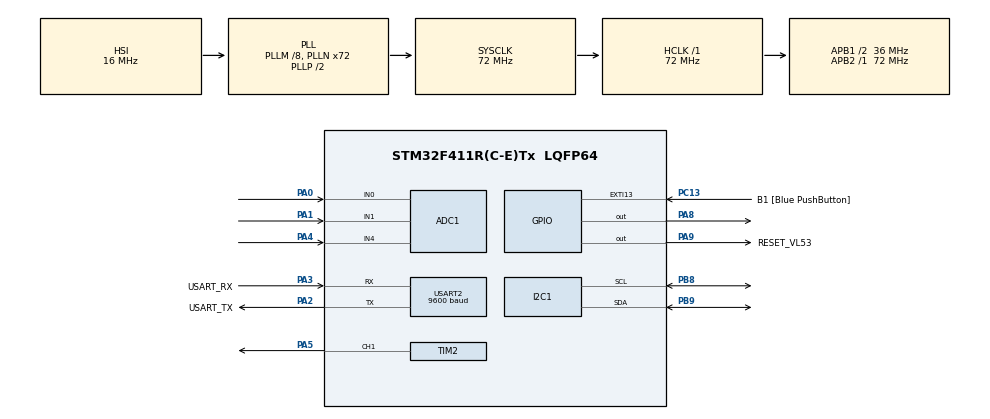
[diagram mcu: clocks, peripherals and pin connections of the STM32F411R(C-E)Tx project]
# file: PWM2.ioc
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ADC1.Channel-0\#ChannelRegularConversion=ADC_CHANNEL_4
ADC1.Channel-1\#ChannelRegularConversion=ADC_CHANNEL_0
ADC1.Channel-2\#ChannelRegularConversion=ADC_CHANNEL_1
ADC1.ContinuousConvMode=ENABLE
ADC1.NbrOfConversion=3
ADC1.NbrOfConversionFlag=1
ADC1.Rank-0\#ChannelRegularConversion=1
ADC1.Rank-1\#ChannelRegularConversion=2
ADC1.Rank-2\#ChannelRegularConversion=3
ADC1.SamplingTime-0\#ChannelRegularConversion=ADC_SAMPLETIME_3CYCLES
ADC1.SamplingTime-1\#ChannelRegularConversion=ADC_SAMPLETIME_28CYCLES
ADC1.SamplingTime-2\#ChannelRegularConversion=ADC_SAMPLETIME_84CYCLES
ADC1.ScanConvMode=ENABLE
ADC1.master=1
Mcu.Family=STM32F4
Mcu.Name=STM32F411R(C-E)Tx
Mcu.Package=LQFP64
NVIC.PriorityGroup=NVIC_PRIORITYGROUP_0
NVIC.USART2_IRQn=true\:0\:0\:false\:false\:true\:true\:true
PA0-WKUP.Signal=ADCx_IN0
PA1.Signal=ADCx_IN1
PA13.GPIO_Label=TMS
PA13.Mode=Serial_Wire
PA13.Signal=SYS_JTMS-SWDIO
PA14.GPIO_Label=TCK
PA14.Mode=Serial_Wire
PA14.Signal=SYS_JTCK-SWCLK
PA2.GPIO_Label=USART_TX
PA2.Mode=Asynchronous
PA2.Signal=USART2_TX
PA3.GPIO_Label=USART_RX
PA3.Mode=Asynchronous
PA3.Signal=USART2_RX
PA4.Signal=ADCx_IN4
PA5.Signal=S_TIM2_CH1_ETR
PA8.Signal=GPIO_Output
PA9.GPIO_Label=RESET_VL53
PA9.Signal=GPIO_Output
PB3.GPIO_Label=SWO
PB3.Signal=SYS_JTDO-SWO
PB8.Mode=I2C
PB8.Signal=I2C1_SCL
PB9.Mode=I2C
PB9.Signal=I2C1_SDA
PC13-ANTI_TAMP.GPIO_Label=B1 [Blue PushButton]
PC13-ANTI_TAMP.GPIO_ModeDefaultEXTI=GPIO_MODE_IT_FALLING
PC13-ANTI_TAMP.Signal=GPXTI13
PC14-OSC32_IN.Mode=LSE-External-Oscillator
PC14-OSC32_IN.Signal=RCC_OSC32_IN
PC15-OSC32_OUT.Mode=LSE-External-Oscillator
PC15-OSC32_OUT.Signal=RCC_OSC32_OUT
PH0\ -\ OSC_IN.Mode=HSE-External-Oscillator
PH0\ -\ OSC_IN.Signal=RCC_OSC_IN
PH1\ -\ OSC_OUT.Mode=HSE-External-Oscillator
PH1\ -\ OSC_OUT.Signal=RCC_OSC_OUT
ProjectManager.HeapSize=0x200
ProjectManager.StackSize=0x400
ProjectManager.TargetToolchain=STM32CubeIDE
RCC.48MHZClocksFreq_Value=36000000
RCC.AHBFreq_Value=72000000
RCC.APB1CLKDivider=RCC_HCLK_DIV2
RCC.APB1Freq_Value=36000000
RCC.APB1TimFreq_Value=72000000
RCC.APB2Freq_Value=72000000
RCC.APB2TimFreq_Value=72000000
RCC.CortexFreq_Value=72000000
RCC.FLatency-AdvancedSettings=FLASH_LATENCY_2
RCC.HCLKFreq_Value=72000000
RCC.HSE_VALUE=8000000
RCC.HSI_VALUE=16000000
RCC.PLLM=8
RCC.PLLN=72
RCC.SYSCLKFreq_VALUE=72000000
RCC.SYSCLKSource=RCC_SYSCLKSOURCE_PLLCLK
RCC.VCOOutputFreq_Value=144000000
SH.ADCx_IN0.0=ADC1_IN0,IN0
SH.ADCx_IN1.0=ADC1_IN1,IN1
SH.ADCx_IN4.0=ADC1_IN4,IN4
SH.S_TIM2_CH1_ETR.0=TIM2_CH1,PWM Generation1 CH1
TIM2.AutoReloadPreload=TIM_AUTORELOAD_PRELOAD_ENABLE
TIM2.Channel-PWM\ Generation1\ CH1=TIM_CHANNEL_1
TIM2.Period=65535
USART2.BaudRate=9600
USART2.VirtualMode=VM_ASYNC
VP_TIM2_VS_ClockSourceINT.Mode=Internal
board=NUCLEO-F411RE

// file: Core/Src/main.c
//code par Romain QUERE

/* USER CODE BEGIN Header */
/**
  ******************************************************************************
  * @file           : main.c
  * @brief          : Main program body
  ******************************************************************************
  * @attention
  *
  * Copyright (c) 2022 STMicroelectronics.
  * All rights reserved.
  *
  * This software is licensed under terms that can be found in the LICENSE file
  * in the root directory of this software component.
  * If no LICENSE file comes with this software, it is provided AS-IS.
  *
  ******************************************************************************
  */
/* USER CODE END Header */
#include "main.h"

/* USER CODE BEGIN Includes */
#include <string.h>
#include<stdio.h>
#include "uart_trace.c"
#include "vl53l0x_api.h"
/* USER CODE END Includes */

/* USER CODE BEGIN PM */
uint8_t UART1_rxBuffer[3];
uint32_t UART1_rxBuffer2;
uint32_t UART1_rxBuffer3[10];

/* USER CODE END PM */

ADC_HandleTypeDef hadc1;

I2C_HandleTypeDef hi2c1;

TIM_HandleTypeDef htim2;

UART_HandleTypeDef huart2;

/* USER CODE BEGIN PV */
int status=0;
uint16_t position_courante=0;
char msg3[100];

char atoi1;
char atoi2;
uint8_t atoi3;
uint8_t atoi4;

uint32_t ConsigneMesure;
float Kp;
float Ki;
float Kd;

uint16_t Im;
float Vshunt;

float erreur ;
float somme_erreurs ;
float erreur_precedente ;
float variation_erreur ;
float commande;

char IHM[2];

/* USER CODE END PV */

void SystemClock_Config(void);
static void MX_GPIO_Init(void);
static void MX_USART2_UART_Init(void);
static void MX_TIM2_Init(void);
static void MX_I2C1_Init(void);
static void MX_ADC1_Init(void);

/* USER CODE BEGIN 0 */
void PID_init(){
	Kp = 0.6;
	Ki = 0;
	Kd = 0.15;
}

float Value_relle;
uint16_t Vr;
int32_t CH1_DC;

void ADC_Select_CH0(void)
{
	ADC_ChannelConfTypeDef sConfig = {0};

	sConfig.Channel=ADC_CHANNEL_0;
	sConfig.Rank=1;
	sConfig.SamplingTime=ADC_SAMPLETIME_28CYCLES;
	if(HAL_ADC_ConfigChannel(&hadc1,&sConfig)!= HAL_OK)
	{
		Error_Handler();
	}
}
void ADC_Select_CH1(void)
{
	  ADC_ChannelConfTypeDef sConfig = {0};

	sConfig.Channel=ADC_CHANNEL_1;
	sConfig.Rank=2;
	sConfig.SamplingTime=ADC_SAMPLETIME_84CYCLES;
	if(HAL_ADC_ConfigChannel(&hadc1,&sConfig)!= HAL_OK)
	{
		Error_Handler();
	}
}

uint16_t ADC_VAL[2];

uint16_t var=0;
float val= 0.0;

#define Avg_Slope .0025
#define V25 0.76

/* USER CODE END 0 */

int main(void)
{
  /* USER CODE BEGIN 1 */

	RangingConfig_e RangingConfig = LONG_RANGE;

	float Rshunt=0.005;
	float G2=37.2;

	float G1=1.66;

	float VS2;
	float VS1;

  /* USER CODE END 1 */

  /* MCU Configuration--------------------------------------------------------*/

  /* Reset of all peripherals, Initializes the Flash interface and the Systick. */
  HAL_Init();

  /* Configure the system clock */
  SystemClock_Config();

  /* Initialize all configured peripherals */
  MX_GPIO_Init();
  MX_USART2_UART_Init();
  MX_TIM2_Init();
  MX_I2C1_Init();
  MX_ADC1_Init();
  /* USER CODE BEGIN 2 */
  //HAL_UART_Receive_IT (&huart2, UART1_rxBuffer, 3);

  XNUCLEO53L0A1_hi2c = hi2c1;
    	  ResetAndDetectSensor(0);
    /* Reset and Detect all sensors */
    	  	  ResetAndDetectSensor(0);
    	  SetupSingleShot(RangingConfig);//DISTANCE

  HAL_TIM_PWM_Start(&htim2,TIM_CHANNEL_1); //PWM

  PID_init();
  /* USER CODE END 2 */

  /* Infinite loop */
  while (1)
  {
  	  //test: set GPIO  pin high
  	  HAL_GPIO_WritePin(GPIOA,GPIO_PIN_0,GPIO_PIN_SET);

  	  //GET ADC VALUE d'un pin PA0 pour le calcul de Im
  	  ADC_Select_CH0();
  	  HAL_ADC_Start(&hadc1);
  	  HAL_ADC_PollForConversion(&hadc1, 1000);
  	  ADC_VAL[0] = HAL_ADC_GetValue(&hadc1); //0volt = 0 et 3.3volt = 4095
  	  //calcul de la valeur de Im
  	  VS2= 0.0008*ADC_VAL[0];
  	  Im=(VS2/(Rshunt*G2*10))*1000;
  	  HAL_ADC_Stop(&hadc1);

  	  //GET ADC VALUE d'un pin PA1 pour le calcul de Vr
  	  ADC_Select_CH1();
  	  HAL_ADC_Start(&hadc1);
  	  HAL_ADC_PollForConversion(&hadc1, 1000);
  	  ADC_VAL[1] = HAL_ADC_GetValue(&hadc1); //0volt = 0 et 3.3volt = 4095
  	  //calcul de la valeur de Vr
  	  VS1= 0.0008*ADC_VAL[1];
  	  Vr=(VS1/G1)*1000;
  	  HAL_ADC_Stop(&hadc1);

  	//  HAL_Delay(1000);

  	  //test: set GPIO  pin high
  	  HAL_GPIO_WritePin(GPIOA,GPIO_PIN_0,GPIO_PIN_RESET);

	  status = VL53L0X_PerformSingleRangingMeasurement(&VL53L0XDevs[0],// DISTANCE
	 			 	         	  			  	  	  	  	  	  	  	  &RangingMeasurementData);
	 		  position_courante=RangingMeasurementData.RangeMilliMeter;
	 		  //conevrtion en string de PC,Vr,Im et incrémentation de msg3 pour envoie
	       	   sprintf(msg3, "H%huV%huI%hu\n",position_courante,Vr,Im);
	 			  if( status ==0 )
	 			  {
	 				  //transmition des variables via l'uart
	 			  	 HAL_UART_Transmit(&huart2,(uint8_t*)msg3,sizeof(msg3),1000);// Sending in normal mode
	 				 F411_SetDisplayString(msg3);
	 				 	         	  // Sensor_SetNewRange(&VL53L0XDevs[0],&RangingMeasurementData)
	 		      }

	 			  //reception par interruption quand UART1_rxBuffer
	 			  //obtient trois valeurs une interruption est mise en place-->HAL_UART_RxCpltCallback
	 HAL_UART_Receive_IT (&huart2, UART1_rxBuffer, 3);
    /* USER CODE BEGIN 3 */

	 //asservissement TOR:

     if((uint32_t)position_courante < ConsigneMesure)
      {

          TIM2->CCR1 = CH1_DC;
          CH1_DC=65535*1;
      }
     if ((uint32_t)position_courante > ConsigneMesure)
     {

         TIM2->CCR1 = CH1_DC;
         CH1_DC=0;
     }

//début de l'asservissement avec kp ki et kd

/*	erreur = ConsigneMesure - position_courante;
    somme_erreurs = somme_erreurs + erreur;
	erreur_precedente = erreur;
	variation_erreur = erreur - erreur_precedente;
	commande = Kp * erreur + Ki * somme_erreurs + Kd * variation_erreur;*/

	/*if(position_courante < ConsigneMesure)
	{
		CH1_DC =  commande * 65535 ;

		IHM[0] = 1;
		IHM[1] = CH1_DC;
		F411_SetDisplayString(IHM);

	}

	else if (position_courante >= ConsigneMesure)
	{

		CH1_DC = 0;

		IHM[0] = 1;
		IHM[1] = 0;
		F411_SetDisplayString(IHM);
	}*/

	 	 	              //TIM2->CCR1 = CH1_DC;
	 	 	              //CH1_DC += 70;

	 	 	          HAL_Delay(1);

	 	           }
  /* USER CODE END 3 */
}

void HAL_UART_RxCpltCallback(UART_HandleTypeDef *huart)
{
		//conversion des valeurs (ASCII) recu sur l'uart en uint8_t
    	 atoi3=UART1_rxBuffer[0]-'0';
    	 atoi4=UART1_rxBuffer[1]-'0';
    	uint8_t atoi5=UART1_rxBuffer[2]-'0';

    	//concaténation des variables pour l'obtention de la consigne de mesure
    	 int n=floor(log10(atoi3)+1);
    	 int n2=floor(log10(atoi4));

    	 UART1_rxBuffer2=(atoi3*pow(10,n+1)+atoi4*pow(10,n2+1)+atoi5);
		 ConsigneMesure=UART1_rxBuffer2;

}
void SystemClock_Config(void)
{
  RCC_OscInitTypeDef RCC_OscInitStruct = {0};
  RCC_ClkInitTypeDef RCC_ClkInitStruct = {0};

  /** Configure the main internal regulator output voltage
  */
  __HAL_RCC_PWR_CLK_ENABLE();
  __HAL_PWR_VOLTAGESCALING_CONFIG(PWR_REGULATOR_VOLTAGE_SCALE1);
  /** Initializes the RCC Oscillators according to the specified parameters
  * in the RCC_OscInitTypeDef structure.
  */
  RCC_OscInitStruct.OscillatorType = RCC_OSCILLATORTYPE_HSI;
  RCC_OscInitStruct.HSIState = RCC_HSI_ON;
  RCC_OscInitStruct.HSICalibrationValue = RCC_HSICALIBRATION_DEFAULT;
  RCC_OscInitStruct.PLL.PLLState = RCC_PLL_ON;
  RCC_OscInitStruct.PLL.PLLSource = RCC_PLLSOURCE_HSI;
  RCC_OscInitStruct.PLL.PLLM = 8;
  RCC_OscInitStruct.PLL.PLLN = 72;
  RCC_OscInitStruct.PLL.PLLP = RCC_PLLP_DIV2;
  RCC_OscInitStruct.PLL.PLLQ = 4;
  if (HAL_RCC_OscConfig(&RCC_OscInitStruct) != HAL_OK)
  {
    Error_Handler();
  }
  /** Initializes the CPU, AHB and APB buses clocks
  */
  RCC_ClkInitStruct.ClockType = RCC_CLOCKTYPE_HCLK|RCC_CLOCKTYPE_SYSCLK
                              |RCC_CLOCKTYPE_PCLK1|RCC_CLOCKTYPE_PCLK2;
  RCC_ClkInitStruct.SYSCLKSource = RCC_SYSCLKSOURCE_PLLCLK;
  RCC_ClkInitStruct.AHBCLKDivider = RCC_SYSCLK_DIV1;
  RCC_ClkInitStruct.APB1CLKDivider = RCC_HCLK_DIV2;
  RCC_ClkInitStruct.APB2CLKDivider = RCC_HCLK_DIV1;

  if (HAL_RCC_ClockConfig(&RCC_ClkInitStruct, FLASH_LATENCY_2) != HAL_OK)
  {
    Error_Handler();
  }
}

static void MX_ADC1_Init(void)
{

  ADC_ChannelConfTypeDef sConfig = {0};

  /** Configure the global features of the ADC (Clock, Resolution, Data Alignment and number of conversion)
  */
  hadc1.Instance = ADC1;
  hadc1.Init.ClockPrescaler = ADC_CLOCK_SYNC_PCLK_DIV2;
  hadc1.Init.Resolution = ADC_RESOLUTION_12B;
  hadc1.Init.ScanConvMode = ENABLE;
  hadc1.Init.ContinuousConvMode = ENABLE;
  hadc1.Init.DiscontinuousConvMode = DISABLE;
  hadc1.Init.ExternalTrigConvEdge = ADC_EXTERNALTRIGCONVEDGE_NONE;
  hadc1.Init.ExternalTrigConv = ADC_SOFTWARE_START;
  hadc1.Init.DataAlign = ADC_DATAALIGN_RIGHT;
  hadc1.Init.NbrOfConversion = 1;
  hadc1.Init.DMAContinuousRequests = DISABLE;
  hadc1.Init.EOCSelection = ADC_EOC_SINGLE_CONV;
  if (HAL_ADC_Init(&hadc1) != HAL_OK)
  {
    Error_Handler();
  }
  /** Configure for the selected ADC regular channel its corresponding rank in the sequencer and its sample time.
  */
 /* sConfig.Channel = ADC_CHANNEL_4;
  sConfig.Rank = 1;
  sConfig.SamplingTime = ADC_SAMPLETIME_3CYCLES;
  if (HAL_ADC_ConfigChannel(&hadc1, &sConfig) != HAL_OK)
  {
    Error_Handler();
  }
  /** Configure for the selected ADC regular channel its corresponding rank in the sequencer and its sample time.
  *//*
  sConfig.Channel = ADC_CHANNEL_0;
  sConfig.Rank = 2;
  sConfig.SamplingTime = ADC_SAMPLETIME_28CYCLES;
  if (HAL_ADC_ConfigChannel(&hadc1, &sConfig) != HAL_OK)
  {
    Error_Handler();
  }
  /** Configure for the selected ADC regular channel its corresponding rank in the sequencer and its sample time.
  *//*
  sConfig.Channel = ADC_CHANNEL_1;
  sConfig.Rank = 3;
  sConfig.SamplingTime = ADC_SAMPLETIME_84CYCLES;
  if (HAL_ADC_ConfigChannel(&hadc1, &sConfig) != HAL_OK)
  {
    Error_Handler();
  }*/

}

static void MX_I2C1_Init(void)
{

  hi2c1.Instance = I2C1;
  hi2c1.Init.ClockSpeed = 100000;
  hi2c1.Init.DutyCycle = I2C_DUTYCYCLE_2;
  hi2c1.Init.OwnAddress1 = 0;
  hi2c1.Init.AddressingMode = I2C_ADDRESSINGMODE_7BIT;
  hi2c1.Init.DualAddressMode = I2C_DUALADDRESS_DISABLE;
  hi2c1.Init.OwnAddress2 = 0;
  hi2c1.Init.GeneralCallMode = I2C_GENERALCALL_DISABLE;
  hi2c1.Init.NoStretchMode = I2C_NOSTRETCH_DISABLE;
  if (HAL_I2C_Init(&hi2c1) != HAL_OK)
  {
    Error_Handler();
  }

}

static void MX_TIM2_Init(void)
{

  TIM_ClockConfigTypeDef sClockSourceConfig = {0};
  TIM_MasterConfigTypeDef sMasterConfig = {0};
  TIM_OC_InitTypeDef sConfigOC = {0};

  htim2.Instance = TIM2;
  htim2.Init.Prescaler = 0;
  htim2.Init.CounterMode = TIM_COUNTERMODE_UP;
  htim2.Init.Period = 65535;
  htim2.Init.ClockDivision = TIM_CLOCKDIVISION_DIV1;
  htim2.Init.AutoReloadPreload = TIM_AUTORELOAD_PRELOAD_ENABLE;
  if (HAL_TIM_Base_Init(&htim2) != HAL_OK)
  {
    Error_Handler();
  }
  sClockSourceConfig.ClockSource = TIM_CLOCKSOURCE_INTERNAL;
  if (HAL_TIM_ConfigClockSource(&htim2, &sClockSourceConfig) != HAL_OK)
  {
    Error_Handler();
  }
  if (HAL_TIM_PWM_Init(&htim2) != HAL_OK)
  {
    Error_Handler();
  }
  sMasterConfig.MasterOutputTrigger = TIM_TRGO_RESET;
  sMasterConfig.MasterSlaveMode = TIM_MASTERSLAVEMODE_DISABLE;
  if (HAL_TIMEx_MasterConfigSynchronization(&htim2, &sMasterConfig) != HAL_OK)
  {
    Error_Handler();
  }
  sConfigOC.OCMode = TIM_OCMODE_PWM1;
  sConfigOC.Pulse = 0;
  sConfigOC.OCPolarity = TIM_OCPOLARITY_HIGH;
  sConfigOC.OCFastMode = TIM_OCFAST_DISABLE;
  if (HAL_TIM_PWM_ConfigChannel(&htim2, &sConfigOC, TIM_CHANNEL_1) != HAL_OK)
  {
    Error_Handler();
  }
  HAL_TIM_MspPostInit(&htim2);

}

static void MX_USART2_UART_Init(void)
{

  huart2.Instance = USART2;
  huart2.Init.BaudRate = 9600;
  huart2.Init.WordLength = UART_WORDLENGTH_8B;
  huart2.Init.StopBits = UART_STOPBITS_1;
  huart2.Init.Parity = UART_PARITY_NONE;
  huart2.Init.Mode = UART_MODE_TX_RX;
  huart2.Init.HwFlowCtl = UART_HWCONTROL_NONE;
  huart2.Init.OverSampling = UART_OVERSAMPLING_16;
  if (HAL_UART_Init(&huart2) != HAL_OK)
  {
    Error_Handler();
  }

}

static void MX_GPIO_Init(void)
{
  GPIO_InitTypeDef GPIO_InitStruct = {0};

  /* GPIO Ports Clock Enable */
  __HAL_RCC_GPIOC_CLK_ENABLE();
  __HAL_RCC_GPIOH_CLK_ENABLE();
  __HAL_RCC_GPIOA_CLK_ENABLE();
  __HAL_RCC_GPIOB_CLK_ENABLE();

  /*Configure GPIO pin Output Level */
  HAL_GPIO_WritePin(GPIOA, GPIO_PIN_8|RESET_VL53_Pin, GPIO_PIN_RESET);

  /*Configure GPIO pin : B1_Pin */
  GPIO_InitStruct.Pin = B1_Pin;
  GPIO_InitStruct.Mode = GPIO_MODE_IT_FALLING;
  GPIO_InitStruct.Pull = GPIO_NOPULL;
  HAL_GPIO_Init(B1_GPIO_Port, &GPIO_InitStruct);

  /*Configure GPIO pins : PA8 RESET_VL53_Pin */
  GPIO_InitStruct.Pin = GPIO_PIN_8|RESET_VL53_Pin;
  GPIO_InitStruct.Mode = GPIO_MODE_OUTPUT_PP;
  GPIO_InitStruct.Pull = GPIO_NOPULL;
  GPIO_InitStruct.Speed = GPIO_SPEED_FREQ_LOW;
  HAL_GPIO_Init(GPIOA, &GPIO_InitStruct);

}

void Error_Handler(void)
{
  __disable_irq();
  while (1)
  {
  }
}
